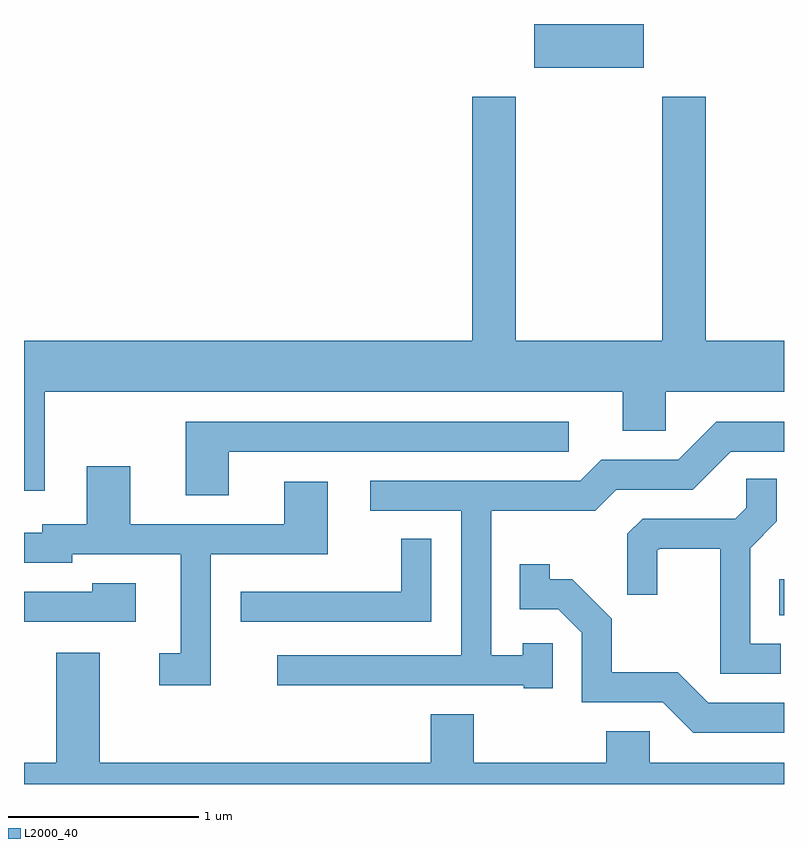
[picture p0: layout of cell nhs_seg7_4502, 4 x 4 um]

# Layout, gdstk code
import gdstk
lib = gdstk.Library(unit=1e-6, precision=1e-09)
def R(c, l, rs):  # rectangles x0, y0, x1, y1
    for r in rs: c.add(gdstk.rectangle(r[:2], r[2:], *l))
def P(c, l, *ps):  # polygons
    for p in ps: c.add(gdstk.Polygon(p, *l))
L2000_40 = (2000, 40)

nhs_seg7_4502 = lib.new_cell('nhs_seg7_4502')
R(nhs_seg7_4502, L2000_40, [(327.586,1713.141,327.611,1713.329), (326.296,1716.021,326.874,1716.252)])
P(nhs_seg7_4502, L2000_40, [(323.719,1714.316),(326.761,1714.316),(326.761,1714.111),(326.989,1714.111),(326.989,1714.316),(327.611,1714.316),(327.611,1714.584),(327.199,1714.584),(327.199,1715.869),(326.971,1715.869),(326.971,1714.584),(326.199,1714.584),(326.199,1715.869),(325.971,1715.869),(325.971,1714.584),(323.611,1714.584),(323.611,1713.796),(323.719,1713.796)],
  [(326.394,1712.993),(326.236,1712.993),(326.236,1712.929),(326.069,1712.929),(326.069,1713.691),(326.617,1713.691),(326.727,1713.801),(327.132,1713.801),(327.332,1714.001),(327.611,1714.001),(327.611,1714.159),(327.254,1714.159),(327.054,1713.959),(326.649,1713.959),(326.539,1713.849),(325.433,1713.849),(325.433,1713.691),(325.911,1713.691),(325.911,1712.929),(324.943,1712.929),(324.943,1712.771),(326.24,1712.771),(326.24,1712.756),(326.394,1712.756)],
  [(324.689,1714.001),(326.478,1714.001),(326.478,1714.159),(324.461,1714.159),(324.461,1713.771),(324.689,1713.771)],
  [(324.594,1713.461),(325.209,1713.461),(325.209,1713.844),(324.981,1713.844),(324.981,1713.619),(324.169,1713.619),(324.169,1713.924),(323.941,1713.924),(323.941,1713.619),(323.706,1713.619),(323.706,1713.574),(323.611,1713.574),(323.611,1713.416),(323.864,1713.416),(323.864,1713.461),(324.436,1713.461),(324.436,1712.939),(324.323,1712.939),(324.323,1712.771),(324.594,1712.771)],
  [(327.593,1712.989),(327.434,1712.989),(327.434,1713.494),(327.574,1713.634),(327.574,1713.858),(327.411,1713.858),(327.411,1713.707),(327.354,1713.649),(326.867,1713.649),(326.786,1713.569),(326.786,1713.248),(326.944,1713.248),(326.944,1713.479),(326.957,1713.491),(327.276,1713.491),(327.276,1712.831),(327.593,1712.831)],
  [(325.754,1713.543),(325.596,1713.543),(325.596,1713.264),(324.753,1713.264),(324.753,1713.106),(325.754,1713.106)],
  [(327.611,1712.679),(327.212,1712.679),(327.052,1712.839),(326.704,1712.839),(326.704,1713.122),(326.497,1713.329),(326.379,1713.329),(326.379,1713.408),(326.221,1713.408),(326.221,1713.171),(326.424,1713.171),(326.546,1713.049),(326.546,1712.681),(326.974,1712.681),(327.134,1712.521),(327.611,1712.521)],
  [(324.199,1713.309),(323.971,1713.309),(323.971,1713.264),(323.611,1713.264),(323.611,1713.106),(324.199,1713.106)],
  [(327.611,1712.364),(326.904,1712.364),(326.904,1712.529),(326.676,1712.529),(326.676,1712.364),(325.979,1712.364),(325.979,1712.619),(325.751,1712.619),(325.751,1712.364),(324.009,1712.364),(324.009,1712.944),(323.781,1712.944),(323.781,1712.364),(323.611,1712.364),(323.611,1712.252),(327.611,1712.252)])

lib.write_gds('nhs_seg7_4502.gds')
